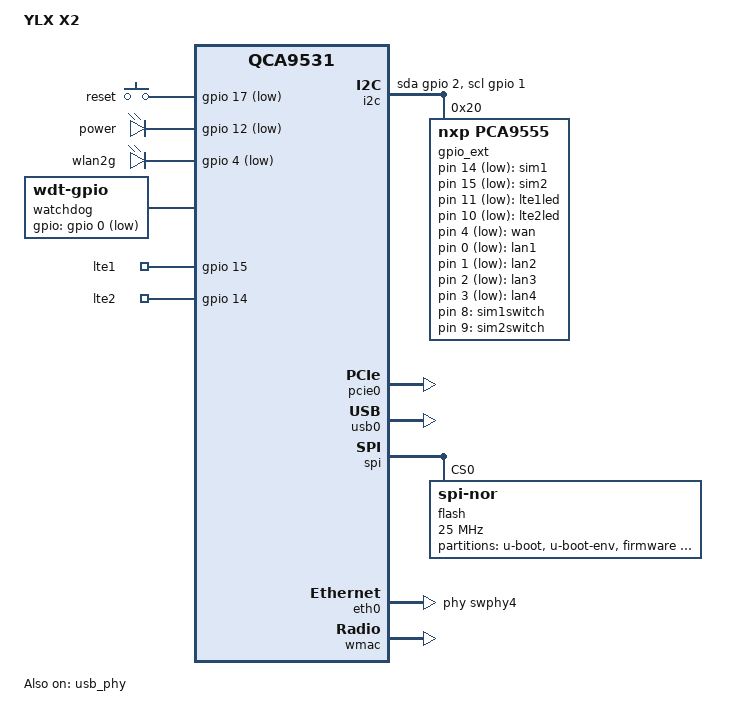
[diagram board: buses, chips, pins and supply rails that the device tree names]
// SPDX-License-Identifier: GPL-2.0-or-later OR MIT

#include "qca953x.dtsi"

#include <dt-bindings/gpio/gpio.h>
#include <dt-bindings/input/input.h>

/ {
	compatible = "ylx,x2", "qca,qca9531";
	model = "YLX X2";

	keys {
		compatible = "gpio-keys";

		reset {
			label = "reset";
			linux,code = <KEY_RESTART>;
			gpios = <&gpio 17 GPIO_ACTIVE_LOW>;
		};
		lte1_sim_det {
			label = "sim1";
			linux,code = <BTN_1>;
			gpios = <&gpio_ext 14 GPIO_ACTIVE_LOW>;
		};
		lte2_sim_det {
			label = "sim2";
			linux,code = <BTN_2>;
			gpios = <&gpio_ext 15 GPIO_ACTIVE_LOW>;
		};
	};

	leds {
		compatible = "gpio-leds";

		power {
			label = "power";
			gpios = <&gpio 12 GPIO_ACTIVE_LOW>;
			default-state = "on";
		};

		wlan2g {
			label = "wlan2g";
			gpios = <&gpio 4 GPIO_ACTIVE_LOW>;
			linux,default-trigger = "phy1tpt";
		};

		lte1led {
			label = "lte1led";
			gpios = <&gpio_ext 11 GPIO_ACTIVE_LOW>;
		};

		lte2led {
			label = "lte2led";
			gpios = <&gpio_ext 10 GPIO_ACTIVE_LOW>;
		};

		wan {
			label = "wan";
			gpios = <&gpio_ext 4 GPIO_ACTIVE_LOW>;
		};

		lan1 {
			label = "lan1";
			gpios = <&gpio_ext 0 GPIO_ACTIVE_LOW>;
		};
		lan2 {
			label = "lan2";
			gpios = <&gpio_ext 1 GPIO_ACTIVE_LOW>;
		};
		lan3 {
			label = "lan3";
			gpios = <&gpio_ext 2 GPIO_ACTIVE_LOW>;
		};
		lan4 {
			label = "lan4";
			gpios = <&gpio_ext 3 GPIO_ACTIVE_LOW>;
		};

	};

		watchdog {
			compatible = "linux,wdt-gpio";
			gpios = <&gpio 0 GPIO_ACTIVE_LOW>;
			pinctrl-0 = <&jtag_disable_pins>;
			pinctrl-names = "default";
			hw_algo = "toggle";
			hw_margin_ms = <1600>;
			always-running;
		};


		i2c {
		compatible = "i2c-gpio";
		#address-cells = <1>;
		#size-cells = <1>;

		sda-gpios = <&gpio 2 GPIO_ACTIVE_HIGH>;
		scl-gpios = <&gpio 1 GPIO_ACTIVE_HIGH>;

		gpio_ext: gpio_ext@20 {
			compatible = "nxp,pca9555";
			reg = <0x20>;

			gpio-controller;
			#gpio-cells = <2>;
		};

	};

	gpio-export {
		compatible = "gpio-export";

		lte1 {
			label = "lte1";
			gpio-export,name = "lte1";
			gpio-export,output = <1>;
			gpios = <&gpio 15 GPIO_ACTIVE_HIGH>;
		};

		lte2 {
			label = "lte2";
			gpio-export,name = "lte2";
			gpio-export,output = <1>;
			gpios = <&gpio 14 GPIO_ACTIVE_HIGH>;
		};
		sim1switch {
			label = "sim1switch";
			gpio-export,name = "sim1switch";
			gpio-export,output = <1>;
			gpios = <&gpio_ext 8 GPIO_ACTIVE_HIGH>;
		};

		sim2switch {
			label = "sim2switch";
			gpio-export,name = "sim2switch";
			gpio-export,output = <1>;
			gpios = <&gpio_ext 9 GPIO_ACTIVE_HIGH>;
		};
	};

};

&pcie0 {
	status = "okay";
};

&usb0 {
	#address-cells = <1>;
	#size-cells = <0>;
	status = "okay";

	hub_port: port@1 {
		reg = <1>;
		#trigger-source-cells = <0>;
	};
};

&usb_phy {
	status = "okay";
};

&spi {
	status = "okay";

	flash@0 {
		compatible = "jedec,spi-nor";
		reg = <0>;
		spi-max-frequency = <25000000>;

		partitions {
			compatible = "fixed-partitions";
			#address-cells = <1>;
			#size-cells = <1>;

			partition@0 {
				label = "u-boot";
				reg = <0x000000 0x040000>;
				read-only;
			};

			partition@40000 {
				label = "u-boot-env";
				reg = <0x040000 0x010000>;
			};

			partition@50000 {
				compatible = "denx,uimage";
				label = "firmware";
				reg = <0x050000 0xfa0000>;
			};

			art: partition@ff0000 {
				label = "art";
				reg = <0xff0000 0x010000>;
				// read-only;
			};

		};
	};
};


&eth0 {
	status = "okay";

	phy-handle = <&swphy4>;

	mtd-mac-address = <&art 0x1002>;
};

&eth1 {
	mtd-mac-address = <&art 0x1002>;
	mtd-mac-address-increment = <1>;
};

&wmac {
	status = "okay";

	mtd-cal-data = <&art 0x1000>;
};
